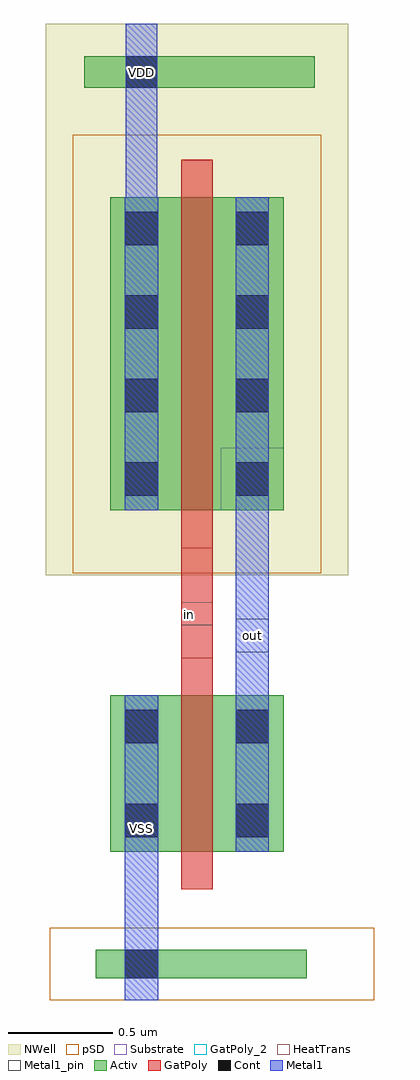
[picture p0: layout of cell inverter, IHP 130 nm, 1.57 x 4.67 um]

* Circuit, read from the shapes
.subckt inverter VDD VSS in out
XM1 out in VSS VSS sg13_lv_nmos w=0.75u l=0.15u
XM2 out in VDD VDD sg13_lv_pmos w=1.5u l=0.15u
.ends

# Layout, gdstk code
import gdstk
lib = gdstk.Library(unit=1e-6, precision=5e-09)
def R(c, l, rs):  # rectangles x0, y0, x1, y1
    for r in rs: c.add(gdstk.rectangle(r[:2], r[2:], *l))
def A(c, l, x, y, w, h, nx, ny, dx, dy):  # array of equal rectangles
    R(c, l, [(x+i*dx, y+j*dy, x+i*dx+w, y+j*dy+h) for i in range(nx) for j in range(ny)])
Activ = (1, 0)
GatPoly = (5, 0)
GatPoly_2 = (5, 2)
Cont = (6, 0)
Metal1 = (8, 0)
Metal1_pin = (8, 2)
pSD = (14, 0)
NWell = (31, 0)
Substrate = (40, 0)
HeatTrans = (51, 0)

pmos_1 = lib.new_cell('pmos$1')
R(pmos_1, Activ, [(0,0,0.3,0.3), (0,0,0.83,1.5), (0.53,0,0.83,0.3)])
R(pmos_1, GatPoly, [(0.34,-0.18,0.49,1.68), (0.34,-0.18,0.49,1.68)])
A(pmos_1, Cont, 0.07, 0.07, 0.16, 0.16, 1, 4, 0, 0.4)
A(pmos_1, Cont, 0.6, 0.07, 0.16, 0.16, 1, 4, 0, 0.4)
R(pmos_1, Metal1, [(0.07,0,0.23,1.5), (0.07,0,0.23,1.5), (0.6,0,0.76,1.5), (0.6,0,0.76,1.5)])
R(pmos_1, pSD, [(-0.18,-0.3,1.01,1.8)])
R(pmos_1, NWell, [(-0.31,-0.31,1.14,1.81)])
R(pmos_1, Substrate, [(0.53,0,0.83,0.3)])
R(pmos_1, HeatTrans, [(0.34,-0.18,0.49,1.68)])
pmos_1.add(gdstk.Label('pmos', (0.415,0.75), layer=63, texttype=0))
pmos_1.add(gdstk.Label('pmos', (0.415,0.75), layer=51, texttype=0))

nmos = lib.new_cell('nmos')
R(nmos, Activ, [(0,0,0.3,0.3), (0,0,0.83,0.75), (0.53,0,0.83,0.3)])
R(nmos, GatPoly, [(0.34,-0.18,0.49,0.93)])
R(nmos, GatPoly_2, [(0.34,-0.18,0.49,0.93)])
R(nmos, Cont, [(0.07,0.07,0.23,0.23), (0.6,0.07,0.76,0.23), (0.07,0.52,0.23,0.68), (0.6,0.52,0.76,0.68)])
R(nmos, Metal1, [(0.07,0,0.23,0.75), (0.6,0,0.76,0.75)])
R(nmos, Metal1_pin, [(0.07,0,0.23,0.75), (0.6,0,0.76,0.75)])
R(nmos, HeatTrans, [(0.34,-0.18,0.49,0.93)])
nmos.add(gdstk.Label('nmos', (0.415,0.375), layer=63, texttype=0))
nmos.add(gdstk.Label('nmos', (0.415,0.375), layer=51, texttype=0))

inverter = lib.new_cell('inverter')
R(inverter, Activ, [(-0.48,-1.23,0.53,-1.095), (-0.535,3.035,0.57,3.185)])
R(inverter, GatPoly, [(-0.07,0.305,0.08,0.83)])
R(inverter, GatPoly_2, [(-0.07,0.46,0.08,0.57)])
R(inverter, Cont, [(-0.34,-1.23,-0.18,-1.095), (-0.335,3.035,-0.185,3.185)])
R(inverter, Metal1, [(-0.34,-1.335,-0.18,-0.555), (0.19,0.125,0.35,1.01), (-0.335,2.51,-0.185,3.34)])
R(inverter, Metal1_pin, [(-0.34,-0.625,-0.18,-0.4), (0.19,-0.105,0.35,0.055), (0.19,0.33,0.35,0.49), (-0.335,3.035,-0.185,3.185)])
R(inverter, pSD, [(-0.7,-1.335,0.855,-0.99)])
R(inverter, NWell, [(-0.72,2.82,0.73,3.34)])
inverter.add(gdstk.Reference(pmos_1, (-0.41,1.01)))
inverter.add(gdstk.Reference(nmos, (-0.41,-0.625)))
inverter.add(gdstk.Label('out', (0.27,0.41), layer=8, texttype=2))
inverter.add(gdstk.Label('VSS', (-0.26,-0.515), layer=8, texttype=2))
inverter.add(gdstk.Label('VDD', (-0.26,3.11), layer=8, texttype=2))
inverter.add(gdstk.Label('in', (-0.03,0.51), layer=5, texttype=2))

lib.write_gds('inverter.gds')
